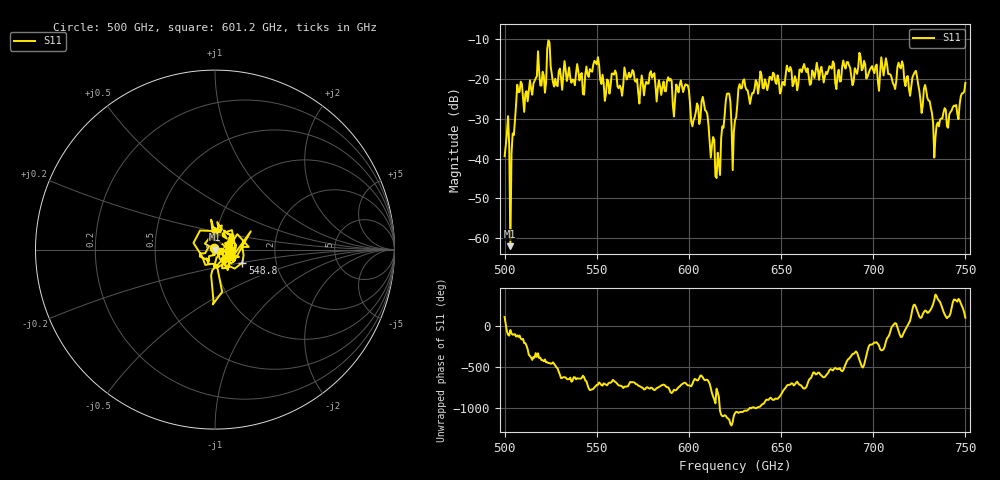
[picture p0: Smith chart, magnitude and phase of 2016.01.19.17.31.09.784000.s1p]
!Created with skrf (http://scikit-rf.org).
# GHz S RI R 50.0
!freq ReS11 ImS11
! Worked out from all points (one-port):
!   401 points, 500 GHz to 750 GHz, reference 50 ohm
!   lowest |S11| = -62.0 dB at 503.1 GHz (marker M1), VSWR 1.00, Z = 50 - j0.0622 ohm
!   |S11| at or under -10 dB: start of sweep to end of sweep
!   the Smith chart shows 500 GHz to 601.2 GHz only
!   S11 on the Smith chart (normalised r, x): 500 GHz: 0.99, +0.02; 548.8 GHz: 1.34, -0.20; 601.2 GHz: 1.06, -0.01
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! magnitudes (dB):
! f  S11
! 500 GHz  -39.4
! 503.1 GHz  -62.0
! 504.4 GHz  -33.7
! 505.6 GHz  -30.4
! 508.1 GHz  -23.2
! 521.2 GHz  -19.1
! 524.4 GHz  -10.8
! 527.5 GHz  -19.9
! 531.2 GHz  -22.7
! 548.8 GHz  -15.4
! 562.5 GHz  -21.6
! 568.8 GHz  -19.1
! 593.8 GHz  -22.2
! 598.8 GHz  -21.5
! 601.2 GHz  -30.7
! 608.1 GHz  -26.0
! 615.6 GHz  -38.5
! 621.2 GHz  -23.6
! 625 GHz  -30.3
! 628.8 GHz  -22.3
! 656.2 GHz  -21.8
! 687.5 GHz  -17.2
! 711.2 GHz  -21.5
! 715 GHz  -17.3
! 718.8 GHz  -19.3
! 728.8 GHz  -22.9
! 734.4 GHz  -31.6
! 750 GHz  -21.0
